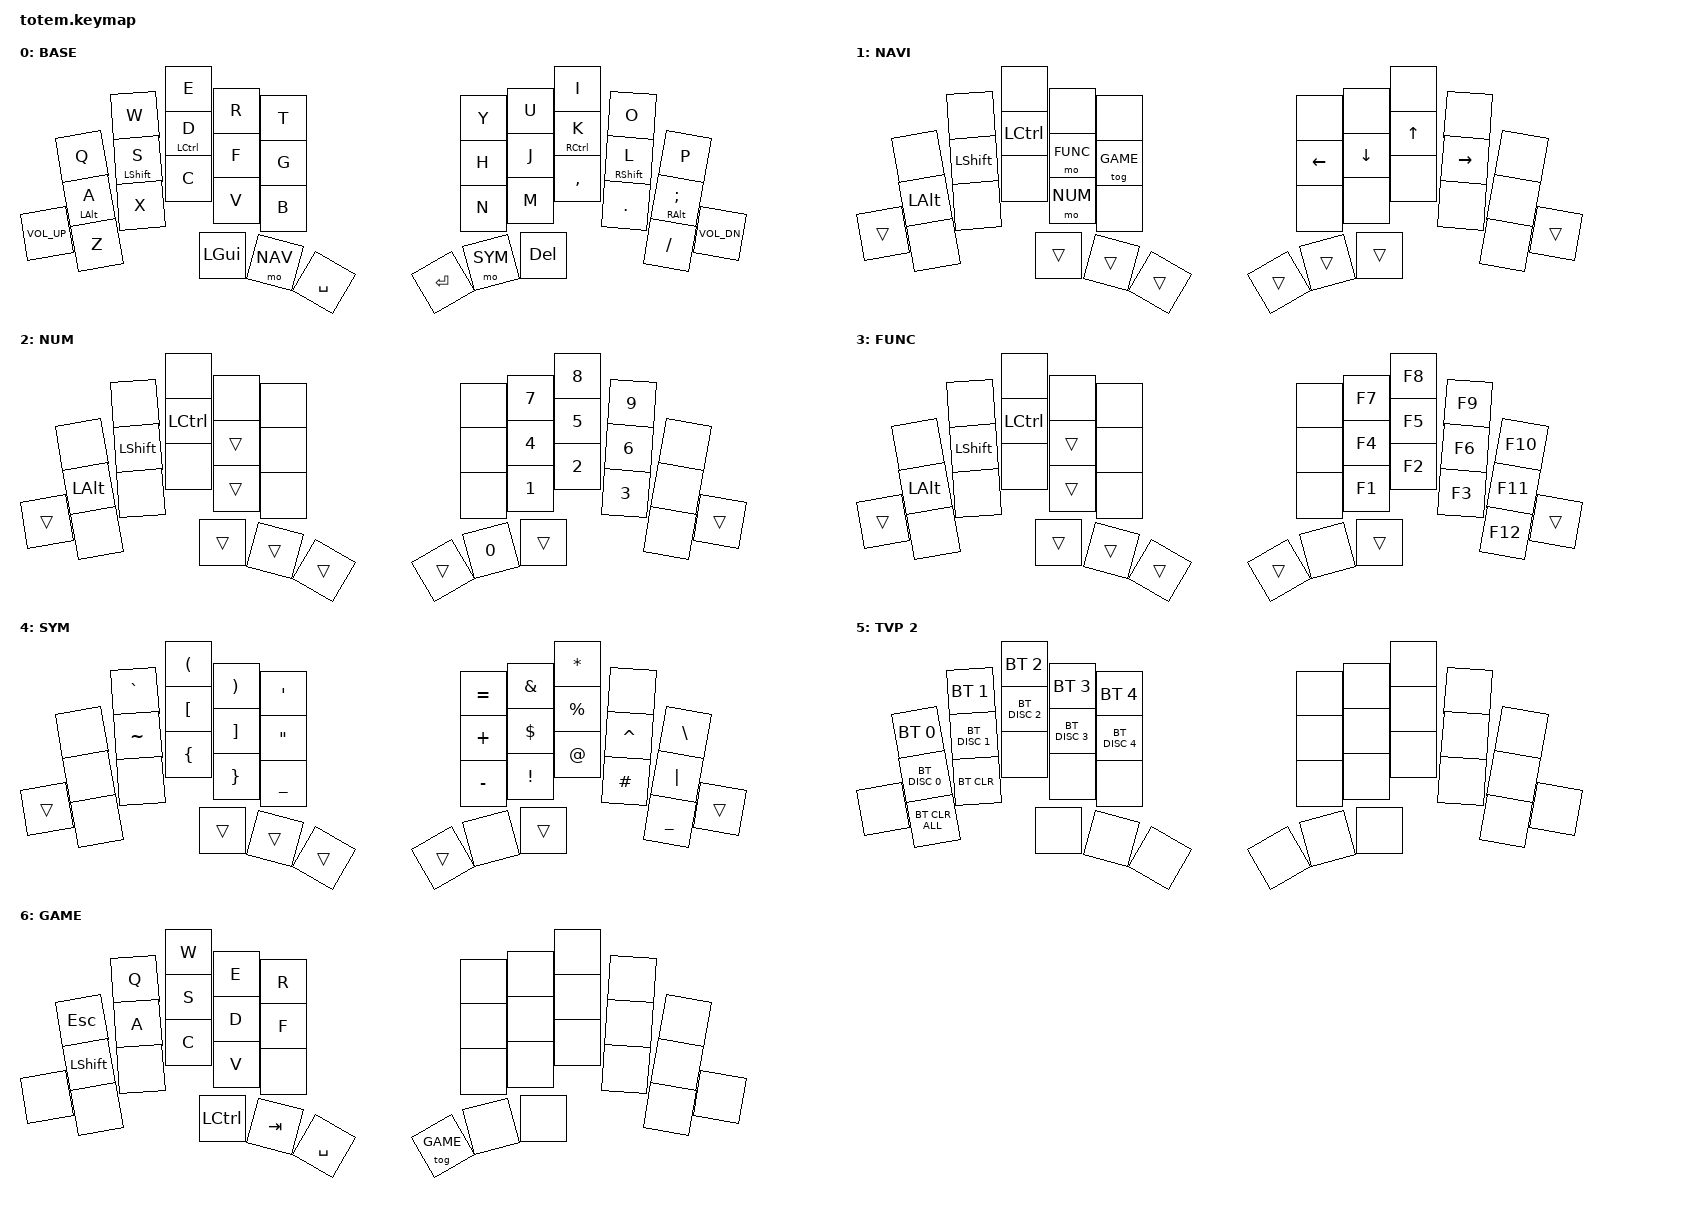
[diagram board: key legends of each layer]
//
//                                                        ▀▀▀▀▀     ▀▀▀▀▀          ▀▀█▀▀
//                                                        ▄▀▀▀▄  ▄  ▄▀▀▀▄  ▄  ▄▀▀▀▄  █  ▄▀▀▀▄
//                                                        █   █  █  █   █  █  █   █  █  █   █
//                                                         ▀▀▀   █   ▀▀▀   █   ▀▀▀   ▀   ▀▀▀
//                                                               █      ▄▄▄█▄▄▄    █   █  
//                                                               ▀      █  █  █     █▄█
//                                                             ▀▀▀▀▀    █  █  █      ▀
//                                                                      ▀  ▀  ▀
//
// ▄▄▄▄▄▄▄▄▄▄▄▄▄▄▄▄▄▄▄▄▄▄▄▄▄▄▄▄▄▄▄▄▄▄▄▄▄▄▄▄▄▄▄▄▄▄▄▄▄▄▄▄▄▄▄▄▄▄▄▄▄▄▄▄▄▄▄▄▄▄▄▄▄▄▄▄▄▄▄▄▄▄▄▄▄▄▄▄▄▄▄▄▄▄▄▄▄▄▄▄▄▄▄▄▄▄▄▄▄▄▄▄▄▄▄▄▄▄▄▄▄▄▄▄▄▄▄▄▄▄▄▄▄▄▄▄▄▄▄▄▄▄▄▄▄▄▄▄▄
       

#include <behaviors.dtsi>
#include <dt-bindings/zmk/keys.h>
#include <dt-bindings/zmk/bt.h>
#include <dt-bindings/zmk/outputs.h>

#define BASE 0
#define NAV  1
#define NUM  2
#define FUNC 3
#define SYM  4
#define SYS  5
#define GAME 6

&mt {
  quick-tap-ms = <170>;
  global-quick-tap;
  flavor = "tap-preferred";
  tapping-term-ms = <170>;
};

/ {
     combos {
            compatible = "zmk,combos";
            combo_esc {
                timeout-ms = <50>;
                key-positions = <1 2>;
                layers = <0>;
                bindings = <&kp ESC>;
            };
            combo_tab {
                timeout-ms = <50>;
                key-positions = <2 3>;
                layers = <0>;
                bindings = <&kp TAB>;
            };
            combo_backspace {
                timeout-ms = <50>;
                key-positions = <7 8>;
                layers = <0 2>;
                bindings = <&kp BSPC>;
            };
            combo_capslock {
                timeout-ms = <50>;
                key-positions = <33 36>;
                layers = <0>;
                bindings = <&kp CAPS>;
            };
            combo_tvp {
                timeout-ms = <100>;
                key-positions = <32 33 34>;
                bindings = <&sl SYS>;
            };
            combo_mute {
                timeout-ms = <100>;
                key-positions = <20 31>;
                bindings = <&kp C_MUTE>;
            };
    };

    macros {
        gif: gif {
            label = "giphy";
            compatible = "zmk,behavior-macro";
            #binding-cells = <0>;
            bindings
                = <&macro_press &kp LSHFT>
                , <&macro_tap &kp N2>
                , <&macro_release &kp LSHFT>
                , <&macro_tap &kp G &kp I &kp F>
                ;
        };
    };

        keymap {
                compatible = "zmk,keymap";
// ▄▄▄▄▄▄▄▄▄▄▄▄▄▄▄▄▄▄▄▄▄▄▄▄▄▄▄▄▄▄▄▄▄▄▄▄▄▄▄▄▄▄▄▄▄▄▄▄▄▄▄▄▄▄▄▄▄▄▄▄▄▄▄▄▄▄▄▄▄▄▄▄▄▄▄▄▄▄▄▄▄▄▄▄▄▄▄▄▄▄▄▄▄▄▄▄▄▄▄▄▄▄▄▄▄▄▄▄▄▄▄▄▄▄▄▄▄▄▄▄▄▄▄▄▄▄▄▄▄▄▄▄▄▄▄▄▄▄▄▄▄▄▄▄▄▄▄▄▄

                base_layer {
// ┏━━━━━━━━━━━━━━━━━━━━━━━━━━━━━━━━━━━━━━━┓
label= "BASE"                              ;
// ┗━━━━━━━━━━━━━━━━━━━━━━━━━━━━━━━━━━━━━━━┛
//             ┏━━━━━━━━━━━┳━━━━━━━━━━━┳━━━━━━━━━━━┳━━━━━━━━━━━┳━━━━━━━━━━━┓   ┏━━━━━━━━━━━┳━━━━━━━━━━━┳━━━━━━━━━━━┳━━━━━━━━━━━┳━━━━━━━━━━━┓
//             ┃     Q     ┃     W     ┃     E     ┃     R     ┃     T     ┃   ┃     Y     ┃     U     ┃     I     ┃     O     ┃     P     ┃
//             ┣━━━━━━━━━━━╋━━━━━━━━━━━╋━━━━━━━━━━━╋━━━━━━━━━━━╋━━━━━━━━━━━┫   ┣━━━━━━━━━━━╋━━━━━━━━━━━╋━━━━━━━━━━━╋━━━━━━━━━━━╋━━━━━━━━━━━┫
//             ┃     A     ┃     S     ┃     D     ┃     F     ┃     G     ┃   ┃     H     ┃     J     ┃     K     ┃     L     ┃     ;     ┃
// ┏━━━━━━━━━━━╋━━━━━━━━━━━╋━━━━━━━━━━━╋━━━━━━━━━━━╋━━━━━━━━━━━╋━━━━━━━━━━━┫   ┣━━━━━━━━━━━╋━━━━━━━━━━━╋━━━━━━━━━━━╋━━━━━━━━━━━╋━━━━━━━━━━━╋━━━━━━━━━━━┓
// ┃  VOL DWN  ┃     Z     ┃     X     ┃     C     ┃     V     ┃     B     ┃   ┃     N     ┃     M     ┃     ,     ┃     .     ┃     /     ┃   VOL UP  ┃
// ┗━━━━━━━━━━━┻━━━━━━━━━━━┻━━━━━━━━━━━╋━━━━━━━━━━━╋━━━━━━━━━━━╋━━━━━━━━━━━┫   ┣━━━━━━━━━━━╋━━━━━━━━━━━╋━━━━━━━━━━━╋━━━━━━━━━━━┻━━━━━━━━━━━┻━━━━━━━━━━━┛
//                                     ┃   LGUI    ┃    NAV    ┃    SPC    ┃   ┃   ENTER   ┃    SYM    ┃    DEL    ┃
//                                     ┗━━━━━━━━━━━┻━━━━━━━━━━━┻━━━━━━━━━━━┛   ┗━━━━━━━━━━━┻━━━━━━━━━━━┻━━━━━━━━━━━┛
 bindings = <
// ╷           ╷           ╷           ╷           ╷           ╷           ╷   ╷           ╷           ╷           ╷           ╷           ╷           ╷

                &kp Q       &kp W       &kp E       &kp R       &kp T           &kp Y       &kp U       &kp I       &kp O       &kp P
                &mt LALT A  &mt LSHFT S &mt LCTRL D &kp F       &kp G           &kp H       &kp J       &mt RCTRL K &mt RSHFT L &mt RALT SEMI
  &kp C_VOL_DN  &kp Z       &kp X       &kp C       &kp V       &kp B           &kp N       &kp M       &kp COMMA   &kp DOT     &kp FSLH    &kp C_VOL_UP   
                                        &kp LGUI    &mo NAV     &kp SPACE       &kp RET     &mo SYM     &kp DEL 
                        >;
                };

// ▄▄▄▄▄▄▄▄▄▄▄▄▄▄▄▄▄▄▄▄▄▄▄▄▄▄▄▄▄▄▄▄▄▄▄▄▄▄▄▄▄▄▄▄▄▄▄▄▄▄▄▄▄▄▄▄▄▄▄▄▄▄▄▄▄▄▄▄▄▄▄▄▄▄▄▄▄▄▄▄▄▄▄▄▄▄▄▄▄▄▄▄▄▄▄▄▄▄▄▄▄▄▄▄▄▄▄▄▄▄▄▄▄▄▄▄▄▄▄▄▄▄▄▄▄▄▄▄▄▄▄▄▄▄▄▄▄▄▄▄▄▄▄▄▄▄▄▄▄


                nav_layer {
// ┏━━━━━━━━━━━━━━━━━━━━━━━━━━━━━━━━━━━━━━━┓
label= "NAVI"                              ;
// ┗━━━━━━━━━━━━━━━━━━━━━━━━━━━━━━━━━━━━━━━┛
//             ┏━━━━━━━━━━━┳━━━━━━━━━━━┳━━━━━━━━━━━┳━━━━━━━━━━━┳━━━━━━━━━━━┓   ┏━━━━━━━━━━━┳━━━━━━━━━━━┳━━━━━━━━━━━┳━━━━━━━━━━━┳━━━━━━━━━━━┓
//             ┃           ┃           ┃           ┃           ┃           ┃   ┃           ┃           ┃           ┃           ┃           ┃
//             ┣━━━━━━━━━━━╋━━━━━━━━━━━╋━━━━━━━━━━━╋━━━━━━━━━━━╋━━━━━━━━━━━┫   ┣━━━━━━━━━━━╋━━━━━━━━━━━╋━━━━━━━━━━━╋━━━━━━━━━━━╋━━━━━━━━━━━┫
//             ┃    ALT    ┃  SHIFT    ┃    CTRL   ┃   FUNC    ┃ TOG GAME  ┃   ┃   LEFT    ┃   DOWN    ┃    UP     ┃   RIGHT   ┃           ┃
// ┏━━━━━━━━━━━╋━━━━━━━━━━━╋━━━━━━━━━━━╋━━━━━━━━━━━╋━━━━━━━━━━━╋━━━━━━━━━━━┫   ┣━━━━━━━━━━━╋━━━━━━━━━━━╋━━━━━━━━━━━╋━━━━━━━━━━━╋━━━━━━━━━━━╋━━━━━━━━━━━┓
// ┃           ┃           ┃           ┃           ┃   NUM     ┃           ┃   ┃           ┃           ┃           ┃           ┃           ┃           ┃
// ┗━━━━━━━━━━━┻━━━━━━━━━━━┻━━━━━━━━━━━╋━━━━━━━━━━━╋━━━━━━━━━━━╋━━━━━━━━━━━┫   ┣━━━━━━━━━━━╋━━━━━━━━━━━╋━━━━━━━━━━━╋━━━━━━━━━━━┻━━━━━━━━━━━┻━━━━━━━━━━━┛
//                                     ┃           ┃           ┃           ┃   ┃           ┃           ┃           ┃
//                                     ┗━━━━━━━━━━━┻━━━━━━━━━━━┻━━━━━━━━━━━┛   ┗━━━━━━━━━━━┻━━━━━━━━━━━┻━━━━━━━━━━━┛
 bindings = <
// ╷           ╷           ╷           ╷           ╷           ╷           ╷   ╷           ╷           ╷           ╷           ╷           ╷           ╷

                &none       &none       &none       &none       &none           &none       &none       &none       &none       &none      
                &kp LALT    &kp LSHFT   &kp LCTRL   &mo FUNC    &tog GAME       &kp LEFT    &kp DOWN    &kp UP      &kp RIGHT   &none       
    &trans      &none       &none       &none       &mo NUM     &none           &none       &none       &none       &none       &none       &trans      
                                        &trans      &trans      &trans          &trans      &trans      &trans      
                        >;
                };

// ▄▄▄▄▄▄▄▄▄▄▄▄▄▄▄▄▄▄▄▄▄▄▄▄▄▄▄▄▄▄▄▄▄▄▄▄▄▄▄▄▄▄▄▄▄▄▄▄▄▄▄▄▄▄▄▄▄▄▄▄▄▄▄▄▄▄▄▄▄▄▄▄▄▄▄▄▄▄▄▄▄▄▄▄▄▄▄▄▄▄▄▄▄▄▄▄▄▄▄▄▄▄▄▄▄▄▄▄▄▄▄▄▄▄▄▄▄▄▄▄▄▄▄▄▄▄▄▄▄▄▄▄▄▄▄▄▄▄▄▄▄▄▄▄▄▄▄▄▄


                num_layer {
// ┏━━━━━━━━━━━━━━━━━━━━━━━━━━━━━━━━━━━━━━━┓
label= "NUM"                               ;
// ┗━━━━━━━━━━━━━━━━━━━━━━━━━━━━━━━━━━━━━━━┛
//             ┏━━━━━━━━━━━┳━━━━━━━━━━━┳━━━━━━━━━━━┳━━━━━━━━━━━┳━━━━━━━━━━━┓   ┏━━━━━━━━━━━┳━━━━━━━━━━━┳━━━━━━━━━━━┳━━━━━━━━━━━┳━━━━━━━━━━━┓
//             ┃           ┃           ┃           ┃           ┃           ┃   ┃           ┃     7     ┃     8     ┃     9     ┃           ┃
//             ┣━━━━━━━━━━━╋━━━━━━━━━━━╋━━━━━━━━━━━╋━━━━━━━━━━━╋━━━━━━━━━━━┫   ┣━━━━━━━━━━━╋━━━━━━━━━━━╋━━━━━━━━━━━╋━━━━━━━━━━━╋━━━━━━━━━━━┫
//             ┃    ALT    ┃  SHIFT    ┃   CTRL    ┃           ┃           ┃   ┃           ┃     4     ┃     5     ┃     6     ┃           ┃
// ┏━━━━━━━━━━━╋━━━━━━━━━━━╋━━━━━━━━━━━╋━━━━━━━━━━━╋━━━━━━━━━━━╋━━━━━━━━━━━┫   ┣━━━━━━━━━━━╋━━━━━━━━━━━╋━━━━━━━━━━━╋━━━━━━━━━━━╋━━━━━━━━━━━╋━━━━━━━━━━━┓
// ┃           ┃           ┃           ┃           ┃           ┃           ┃   ┃           ┃     1     ┃     2     ┃     3     ┃           ┃           ┃
// ┗━━━━━━━━━━━┻━━━━━━━━━━━┻━━━━━━━━━━━╋━━━━━━━━━━━╋━━━━━━━━━━━╋━━━━━━━━━━━┫   ┣━━━━━━━━━━━╋━━━━━━━━━━━╋━━━━━━━━━━━╋━━━━━━━━━━━┻━━━━━━━━━━━┻━━━━━━━━━━━┛
//                                     ┃           ┃           ┃           ┃   ┃           ┃     0     ┃           ┃
//                                     ┗━━━━━━━━━━━┻━━━━━━━━━━━┻━━━━━━━━━━━┛   ┗━━━━━━━━━━━┻━━━━━━━━━━━┻━━━━━━━━━━━┛
 bindings = <
// ╷           ╷           ╷           ╷           ╷           ╷           ╷   ╷           ╷           ╷           ╷           ╷           ╷           ╷

                &none       &none       &none       &none       &none           &none       &kp N7      &kp N8      &kp N9      &none         
                &kp LALT    &kp LSHFT   &kp LCTRL   &trans      &none           &none       &kp N4      &kp N5      &kp N6      &none     
    &trans      &none       &none       &none       &trans      &none           &none       &kp N1      &kp N2      &kp N3      &none       &trans         
                                        &trans      &trans      &trans          &trans      &kp N0      &trans      
                        >;
                };

// ▄▄▄▄▄▄▄▄▄▄▄▄▄▄▄▄▄▄▄▄▄▄▄▄▄▄▄▄▄▄▄▄▄▄▄▄▄▄▄▄▄▄▄▄▄▄▄▄▄▄▄▄▄▄▄▄▄▄▄▄▄▄▄▄▄▄▄▄▄▄▄▄▄▄▄▄▄▄▄▄▄▄▄▄▄▄▄▄▄▄▄▄▄▄▄▄▄▄▄▄▄▄▄▄▄▄▄▄▄▄▄▄▄▄▄▄▄▄▄▄▄▄▄▄▄▄▄▄▄▄▄▄▄▄▄▄▄▄▄▄▄▄▄▄▄▄▄▄▄


                function_layer {
// ┏━━━━━━━━━━━━━━━━━━━━━━━━━━━━━━━━━━━━━━━┓
label= "FUNC"                               ;
// ┗━━━━━━━━━━━━━━━━━━━━━━━━━━━━━━━━━━━━━━━┛
//             ┏━━━━━━━━━━━┳━━━━━━━━━━━┳━━━━━━━━━━━┳━━━━━━━━━━━┳━━━━━━━━━━━┓   ┏━━━━━━━━━━━┳━━━━━━━━━━━┳━━━━━━━━━━━┳━━━━━━━━━━━┳━━━━━━━━━━━┓
//             ┃           ┃           ┃           ┃           ┃           ┃   ┃           ┃    F7     ┃    F8     ┃    F9     ┃   F10     ┃
//             ┣━━━━━━━━━━━╋━━━━━━━━━━━╋━━━━━━━━━━━╋━━━━━━━━━━━╋━━━━━━━━━━━┫   ┣━━━━━━━━━━━╋━━━━━━━━━━━╋━━━━━━━━━━━╋━━━━━━━━━━━╋━━━━━━━━━━━┫
//             ┃    ALT    ┃  SHIFT    ┃   CTRL    ┃           ┃           ┃   ┃           ┃    F4     ┃    F5     ┃    F6     ┃   F11     ┃
// ┏━━━━━━━━━━━╋━━━━━━━━━━━╋━━━━━━━━━━━╋━━━━━━━━━━━╋━━━━━━━━━━━╋━━━━━━━━━━━┫   ┣━━━━━━━━━━━╋━━━━━━━━━━━╋━━━━━━━━━━━╋━━━━━━━━━━━╋━━━━━━━━━━━╋━━━━━━━━━━━┓
// ┃           ┃           ┃           ┃           ┃           ┃           ┃   ┃           ┃    F1     ┃    F2     ┃    F3     ┃   F12     ┃           ┃
// ┗━━━━━━━━━━━┻━━━━━━━━━━━┻━━━━━━━━━━━╋━━━━━━━━━━━╋━━━━━━━━━━━╋━━━━━━━━━━━┫   ┣━━━━━━━━━━━╋━━━━━━━━━━━╋━━━━━━━━━━━╋━━━━━━━━━━━┻━━━━━━━━━━━┻━━━━━━━━━━━┛
//                                     ┃           ┃           ┃           ┃   ┃           ┃           ┃           ┃
//                                     ┗━━━━━━━━━━━┻━━━━━━━━━━━┻━━━━━━━━━━━┛   ┗━━━━━━━━━━━┻━━━━━━━━━━━┻━━━━━━━━━━━┛
 bindings = <
// ╷           ╷           ╷           ╷           ╷           ╷           ╷   ╷           ╷           ╷           ╷           ╷           ╷           ╷

                &none       &none       &none       &none       &none           &none       &kp F7      &kp F8      &kp F9      &kp F10       
                &kp LALT    &kp LSHFT   &kp LCTRL   &trans      &none           &none       &kp F4      &kp F5      &kp F6      &kp F11   
    &trans      &none       &none       &none       &trans      &none           &none       &kp F1      &kp F2      &kp F3      &kp F12     &trans         
                                        &trans      &trans      &trans          &trans      &none       &trans      
                        >;
                };

// ▄▄▄▄▄▄▄▄▄▄▄▄▄▄▄▄▄▄▄▄▄▄▄▄▄▄▄▄▄▄▄▄▄▄▄▄▄▄▄▄▄▄▄▄▄▄▄▄▄▄▄▄▄▄▄▄▄▄▄▄▄▄▄▄▄▄▄▄▄▄▄▄▄▄▄▄▄▄▄▄▄▄▄▄▄▄▄▄▄▄▄▄▄▄▄▄▄▄▄▄▄▄▄▄▄▄▄▄▄▄▄▄▄▄▄▄▄▄▄▄▄▄▄▄▄▄▄▄▄▄▄▄▄▄▄▄▄▄▄▄▄▄▄▄▄▄▄▄▄

                symbol_layer {
// ┏━━━━━━━━━━━━━━━━━━━━━━━━━━━━━━━━━━━━━━━┓
label= "SYM"                               ;
// ┗━━━━━━━━━━━━━━━━━━━━━━━━━━━━━━━━━━━━━━━┛
//             ┏━━━━━━━━━━━┳━━━━━━━━━━━┳━━━━━━━━━━━┳━━━━━━━━━━━┳━━━━━━━━━━━┓   ┏━━━━━━━━━━━┳━━━━━━━━━━━┳━━━━━━━━━━━┳━━━━━━━━━━━┳━━━━━━━━━━━┓
//             ┃           ┃     `     ┃     (     ┃     )     ┃     '     ┃   ┃     =     ┃     &     ┃     *     ┃           ┃     \     ┃
//             ┣━━━━━━━━━━━╋━━━━━━━━━━━╋━━━━━━━━━━━╋━━━━━━━━━━━╋━━━━━━━━━━━┫   ┣━━━━━━━━━━━╋━━━━━━━━━━━╋━━━━━━━━━━━╋━━━━━━━━━━━╋━━━━━━━━━━━┫
//             ┃           ┃     ~     ┃     [     ┃     ]     ┃     "     ┃   ┃     +     ┃     $     ┃     %     ┃     ^     ┃     ┃     ┃
// ┏━━━━━━━━━━━╋━━━━━━━━━━━╋━━━━━━━━━━━╋━━━━━━━━━━━╋━━━━━━━━━━━╋━━━━━━━━━━━┫   ┣━━━━━━━━━━━╋━━━━━━━━━━━╋━━━━━━━━━━━╋━━━━━━━━━━━╋━━━━━━━━━━━╋━━━━━━━━━━━┓
// ┃           ┃           ┃           ┃     {     ┃     }     ┃     _     ┃   ┃     -     ┃     !     ┃     @     ┃     #     ┃     _     ┃           ┃
// ┗━━━━━━━━━━━┻━━━━━━━━━━━┻━━━━━━━━━━━╋━━━━━━━━━━━╋━━━━━━━━━━━╋━━━━━━━━━━━┫   ┣━━━━━━━━━━━╋━━━━━━━━━━━╋━━━━━━━━━━━╋━━━━━━━━━━━┻━━━━━━━━━━━┻━━━━━━━━━━━┛
//                                     ┃           ┃           ┃           ┃   ┃           ┃           ┃           ┃
//                                     ┗━━━━━━━━━━━┻━━━━━━━━━━━┻━━━━━━━━━━━┛   ┗━━━━━━━━━━━┻━━━━━━━━━━━┻━━━━━━━━━━━┛
 bindings = <
// ╷           ╷           ╷           ╷           ╷           ╷           ╷   ╷           ╷           ╷           ╷           ╷           ╷           ╷

                &none       &kp GRAVE   &kp LPAR    &kp RPAR    &kp SQT         &kp EQUAL   &kp AMPS    &kp STAR    &none       &kp BSLH         
                &none       &kp TILDE   &kp LBKT    &kp RBKT    &kp DQT         &kp PLUS    &kp DLLR    &kp PRCNT   &kp CARET   &kp PIPE  
    &trans      &none       &none       &kp LBRC    &kp RBRC    &kp UNDER       &kp MINUS   &kp EXCL    &kp AT      &kp HASH    &kp UNDER   &trans         
                                        &trans      &trans      &trans          &trans      &none       &trans      
                        >;
                };


// ▄▄▄▄▄▄▄▄▄▄▄▄▄▄▄▄▄▄▄▄▄▄▄▄▄▄▄▄▄▄▄▄▄▄▄▄▄▄▄▄▄▄▄▄▄▄▄▄▄▄▄▄▄▄▄▄▄▄▄▄▄▄▄▄▄▄▄▄▄▄▄▄▄▄▄▄▄▄▄▄▄▄▄▄▄▄▄▄▄▄▄▄▄▄▄▄▄▄▄▄▄▄▄▄▄▄▄▄▄▄▄▄▄▄▄▄▄▄▄▄▄▄▄▄▄▄▄▄▄▄▄▄▄▄▄▄▄▄▄▄▄▄▄▄▄▄▄▄▄


                tvp2_layer {
// ┏━━━━━━━━━━━━━━━━━━━━━━━━━━━━━━━━━━━━━━━┓
label= "TVP 2"                             ;
// ┗━━━━━━━━━━━━━━━━━━━━━━━━━━━━━━━━━━━━━━━┛
//             ┏━━━━━━━━━━━┳━━━━━━━━━━━┳━━━━━━━━━━━┳━━━━━━━━━━━┳━━━━━━━━━━━┓   ┏━━━━━━━━━━━┳━━━━━━━━━━━┳━━━━━━━━━━━┳━━━━━━━━━━━┳━━━━━━━━━━━┓
//             ┃  BT SEL0  ┃  BT SEL1  ┃  BT SEL2  ┃  BT SEL3  ┃  BT SEL4  ┃   ┃           ┃           ┃           ┃           ┃           ┃
//             ┣━━━━━━━━━━━╋━━━━━━━━━━━╋━━━━━━━━━━━╋━━━━━━━━━━━╋━━━━━━━━━━━┫   ┣━━━━━━━━━━━╋━━━━━━━━━━━╋━━━━━━━━━━━╋━━━━━━━━━━━╋━━━━━━━━━━━┫
//             ┃  DISC 0   ┃  DISC 1   ┃  DISC 2   ┃  DISC 3   ┃  DISC 4   ┃   ┃           ┃           ┃           ┃           ┃           ┃
// ┏━━━━━━━━━━━╋━━━━━━━━━━━╋━━━━━━━━━━━╋━━━━━━━━━━━╋━━━━━━━━━━━╋━━━━━━━━━━━┫   ┣━━━━━━━━━━━╋━━━━━━━━━━━╋━━━━━━━━━━━╋━━━━━━━━━━━╋━━━━━━━━━━━╋━━━━━━━━━━━┓
// ┃           ┃  CLR ALL  ┃   CLR     ┃           ┃           ┃           ┃   ┃           ┃           ┃           ┃           ┃           ┃           ┃
// ┗━━━━━━━━━━━┻━━━━━━━━━━━┻━━━━━━━━━━━╋━━━━━━━━━━━╋━━━━━━━━━━━╋━━━━━━━━━━━┫   ┣━━━━━━━━━━━╋━━━━━━━━━━━╋━━━━━━━━━━━╋━━━━━━━━━━━┻━━━━━━━━━━━┻━━━━━━━━━━━┛
//                                     ┃           ┃           ┃           ┃   ┃           ┃           ┃           ┃
//                                     ┗━━━━━━━━━━━┻━━━━━━━━━━━┻━━━━━━━━━━━┛   ┗━━━━━━━━━━━┻━━━━━━━━━━━┻━━━━━━━━━━━┛
 bindings = <
// ╷           ╷           ╷           ╷           ╷           ╷           ╷   ╷           ╷           ╷           ╷           ╷           ╷           ╷

            &bt BT_SEL 0 &bt BT_SEL 1 &bt BT_SEL 2 &bt BT_SEL 3 &bt BT_SEL 4    &none       &none       &none       &none       &none         
        &bt BT_DISC 0 &bt BT_DISC 1 &bt BT_DISC 2 &bt BT_DISC 3 &bt BT_DISC 4   &none       &none       &none       &none       &none     
    &none &bt BT_CLR_ALL   &bt BT_CLR   &none       &none       &none           &none       &none       &none       &none       &none       &none         
                                        &none       &none       &none           &none       &none       &none       
                        >;
                };

                game_layer {
// ┏━━━━━━━━━━━━━━━━━━━━━━━━━━━━━━━━━━━━━━━┓
label= "GAME"                             ;
// ┗━━━━━━━━━━━━━━━━━━━━━━━━━━━━━━━━━━━━━━━┛
//             ┏━━━━━━━━━━━┳━━━━━━━━━━━┳━━━━━━━━━━━┳━━━━━━━━━━━┳━━━━━━━━━━━┓   ┏━━━━━━━━━━━┳━━━━━━━━━━━┳━━━━━━━━━━━┳━━━━━━━━━━━┳━━━━━━━━━━━┓
//             ┃   ESC     ┃     Q     ┃     W     ┃     E     ┃     R     ┃   ┃           ┃           ┃           ┃           ┃           ┃
//             ┣━━━━━━━━━━━╋━━━━━━━━━━━╋━━━━━━━━━━━╋━━━━━━━━━━━╋━━━━━━━━━━━┫   ┣━━━━━━━━━━━╋━━━━━━━━━━━╋━━━━━━━━━━━╋━━━━━━━━━━━╋━━━━━━━━━━━┫
//             ┃  SHIFT    ┃     A     ┃     S     ┃     D     ┃     F     ┃   ┃           ┃           ┃           ┃           ┃           ┃
// ┏━━━━━━━━━━━╋━━━━━━━━━━━╋━━━━━━━━━━━╋━━━━━━━━━━━╋━━━━━━━━━━━╋━━━━━━━━━━━┫   ┣━━━━━━━━━━━╋━━━━━━━━━━━╋━━━━━━━━━━━╋━━━━━━━━━━━╋━━━━━━━━━━━╋━━━━━━━━━━━┓
// ┃           ┃           ┃           ┃     C     ┃     V     ┃           ┃   ┃           ┃           ┃           ┃           ┃           ┃           ┃
// ┗━━━━━━━━━━━┻━━━━━━━━━━━┻━━━━━━━━━━━╋━━━━━━━━━━━╋━━━━━━━━━━━╋━━━━━━━━━━━┫   ┣━━━━━━━━━━━╋━━━━━━━━━━━╋━━━━━━━━━━━╋━━━━━━━━━━━┻━━━━━━━━━━━┻━━━━━━━━━━━┛
//                                     ┃    CTRL   ┃    TAB    ┃   SPACE   ┃   ┃ TOG GAME  ┃           ┃           ┃
//                                     ┗━━━━━━━━━━━┻━━━━━━━━━━━┻━━━━━━━━━━━┛   ┗━━━━━━━━━━━┻━━━━━━━━━━━┻━━━━━━━━━━━┛
 bindings = <
// ╷           ╷           ╷           ╷           ╷           ╷           ╷   ╷           ╷           ╷           ╷           ╷           ╷           ╷

                &kp ESC     &kp Q       &kp W       &kp E       &kp R           &none       &none       &none       &none       &none         
                &kp LSHFT   &kp A       &kp S       &kp D       &kp F           &none       &none       &none       &none       &none     
    &none       &none       &none       &kp C       &kp V       &none           &none       &none       &none       &none       &none       &none         
                                        &kp LCTRL   &kp TAB     &kp SPACE       &tog GAME   &none       &none       
                        >;
                };
        };
};
